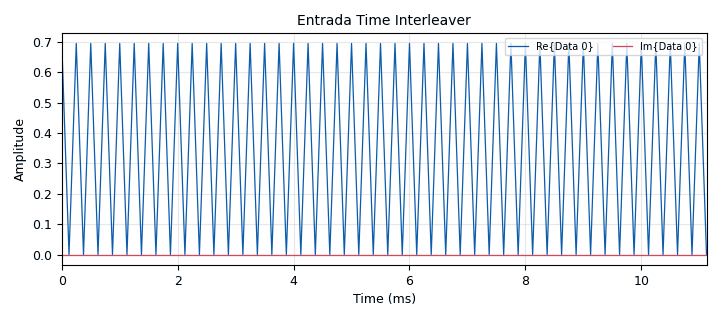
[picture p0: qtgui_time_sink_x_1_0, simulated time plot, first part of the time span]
<?xml version='1.0' encoding='utf-8'?>
<?grc format='1' created='3.7.12'?>
<flow_graph>
<block>
<key>options</key>
<param><key>id</key><value>top_block</value></param>
<param><key>generate_options</key><value>qt_gui</value></param>
</block>
<block>
<key>variable</key>
<param><key>id</key><value>Norm</value></param>
<param><key>value</key><value>1.0/1.44</value></param>
</block>
<block>
<key>variable</key>
<param><key>id</key><value>active_carriers</value></param>
<param><key>value</key><value>13*108*2**(mode-1)+1</value></param>
</block>
<block>
<key>variable</key>
<param><key>id</key><value>data_carriers</value></param>
<param><key>value</key><value>13*96*2**(mode-1)</value></param>
</block>
<block>
<key>variable</key>
<param><key>id</key><value>mode</value></param>
<param><key>value</key><value>1</value></param>
</block>
<block>
<key>variable</key>
<param><key>id</key><value>samp_rate</value></param>
<param><key>value</key><value>8000</value></param>
</block>
<block>
<key>analog_noise_source_x</key>
<param><key>id</key><value>analog_noise_source_x_0</value></param>
<param><key>amp</key><value>1</value></param>
<param><key>_enabled</key><value>0</value></param>
<param><key>noise_type</key><value>analog.GR_GAUSSIAN</value></param>
<param><key>type</key><value>complex</value></param>
<param><key>seed</key><value>0</value></param>
</block>
<block>
<key>blocks_stream_to_vector</key>
<param><key>id</key><value>blocks_stream_to_vector_0</value></param>
<param><key>type</key><value>complex</value></param>
<param><key>num_items</key><value>96</value></param>
</block>
<block>
<key>blocks_throttle</key>
<param><key>id</key><value>blocks_throttle_0</value></param>
<param><key>samples_per_second</key><value>samp_rate</value></param>
<param><key>type</key><value>complex</value></param>
</block>
<block>
<key>blocks_vector_source_x</key>
<param><key>id</key><value>blocks_vector_source_x_0</value></param>
<param><key>type</key><value>complex</value></param>
<param><key>repeat</key><value>True</value></param>
<param><key>vector</key><value>[Norm, 0]</value></param>
</block>
<block>
<key>blocks_vector_to_stream</key>
<param><key>id</key><value>blocks_vector_to_stream_0</value></param>
<param><key>type</key><value>complex</value></param>
<param><key>num_items</key><value>96</value></param>
</block>
<block>
<key>blocks_vector_to_stream</key>
<param><key>id</key><value>blocks_vector_to_stream_0_0</value></param>
<param><key>type</key><value>complex</value></param>
<param><key>num_items</key><value>2560</value></param>
</block>
<block>
<key>blocks_vector_to_stream</key>
<param><key>id</key><value>blocks_vector_to_stream_0_1</value></param>
<param><key>_enabled</key><value>0</value></param>
<param><key>type</key><value>complex</value></param>
<param><key>num_items</key><value>2560</value></param>
</block>
<block>
<key>blocks_vector_to_stream</key>
<param><key>id</key><value>blocks_vector_to_stream_0_2_0</value></param>
<param><key>type</key><value>complex</value></param>
<param><key>num_items</key><value>96</value></param>
</block>
<block>
<key>blocks_vector_to_stream</key>
<param><key>id</key><value>blocks_vector_to_stream_0_2_0_0</value></param>
<param><key>type</key><value>complex</value></param>
<param><key>num_items</key><value>96</value></param>
</block>
<block>
<key>isdbt_agregar_cp</key>
<param><key>id</key><value>isdbt_agregar_cp_0</value></param>
<param><key>cp_length</key><value>0.250</value></param>
<param><key>mode</key><value>1</value></param>
</block>
<block>
<key>isdbt_frec_interleaver</key>
<param><key>id</key><value>isdbt_frec_interleaver_0</value></param>
<param><key>IsFullSeg</key><value>False</value></param>
<param><key>mode</key><value>1</value></param>
</block>
<block>
<key>isdbt_frequency_deinterleaver_1seg</key>
<param><key>id</key><value>isdbt_frequency_deinterleaver_1seg_0</value></param>
<param><key>mode</key><value>1</value></param>
</block>
<block>
<key>isdbt_ofdm_frame_structure</key>
<param><key>id</key><value>isdbt_ofdm_frame_structure_0</value></param>
<param><key>ConvCodeA</key><value>0</value></param>
<param><key>ConvCodeB</key><value>6</value></param>
<param><key>ConvCodeC</key><value>6</value></param>
<param><key>IsFullSeg</key><value>False</value></param>
<param><key>IntLenA</key><value>0</value></param>
<param><key>IntLenB</key><value>0</value></param>
<param><key>IntLenC</key><value>0</value></param>
<param><key>ModeA</key><value>1</value></param>
<param><key>LayASeg</key><value>1</value></param>
<param><key>ModeB</key><value>4</value></param>
<param><key>LayBSeg</key><value>0</value></param>
<param><key>ModeC</key><value>4</value></param>
<param><key>LayCSeg</key><value>0</value></param>
<param><key>mode</key><value>1</value></param>
</block>
<block>
<key>isdbt_ofdm_synchronization_1seg</key>
<param><key>id</key><value>isdbt_ofdm_synchronization_1seg_0</value></param>
<param><key>cp_length</key><value>0.250</value></param>
<param><key>mode</key><value>1</value></param>
</block>
<block>
<key>isdbt_time_deinterleaver_1seg</key>
<param><key>id</key><value>isdbt_time_deinterleaver_1seg_0</value></param>
<param><key>length</key><value>4</value></param>
<param><key>mode</key><value>1</value></param>
</block>
<block>
<key>isdbt_time_interleaver</key>
<param><key>id</key><value>isdbt_time_interleaver_0</value></param>
<param><key>IsFullSeg</key><value>False</value></param>
<param><key>I</key><value>4</value></param>
<param><key>mode</key><value>1</value></param>
</block>
<block>
<key>isdbt_tmcc_decoder_1seg</key>
<param><key>id</key><value>isdbt_tmcc_decoder_1seg_0</value></param>
<param><key>print_params</key><value>False</value></param>
<param><key>transmission_mode</key><value>1</value></param>
</block>
<block>
<key>qtgui_const_sink_x</key>
<param><key>id</key><value>qtgui_const_sink_x_0</value></param>
<param><key>name</key><value>"CONSTELACION DETECTADA"</value></param>
<param><key>size</key><value>1024</value></param>
<param><key>type</key><value>complex</value></param>
</block>
<block>
<key>qtgui_time_sink_x</key>
<param><key>id</key><value>qtgui_time_sink_x_0</value></param>
<param><key>color1</key><value>"blue"</value></param>
<param><key>label1</key><value></value></param>
<param><key>color2</key><value>"red"</value></param>
<param><key>label2</key><value></value></param>
<param><key>name</key><value>"Salida del sistema"</value></param>
<param><key>size</key><value>1024</value></param>
<param><key>srate</key><value>samp_rate</value></param>
<param><key>type</key><value>complex</value></param>
<param><key>ymax</key><value>100</value></param>
<param><key>ymin</key><value>0</value></param>
</block>
<block>
<key>qtgui_time_sink_x</key>
<param><key>id</key><value>qtgui_time_sink_x_0_0</value></param>
<param><key>_enabled</key><value>0</value></param>
<param><key>color1</key><value>"blue"</value></param>
<param><key>label1</key><value></value></param>
<param><key>color2</key><value>"red"</value></param>
<param><key>label2</key><value></value></param>
<param><key>size</key><value>1</value></param>
<param><key>srate</key><value>samp_rate/4</value></param>
<param><key>type</key><value>complex</value></param>
</block>
<block>
<key>qtgui_time_sink_x</key>
<param><key>id</key><value>qtgui_time_sink_x_1</value></param>
<param><key>autoscale</key><value>True</value></param>
<param><key>color1</key><value>"blue"</value></param>
<param><key>label1</key><value></value></param>
<param><key>color2</key><value>"red"</value></param>
<param><key>label2</key><value></value></param>
<param><key>name</key><value>"Salida Time Interleaving"</value></param>
<param><key>size</key><value>1024</value></param>
<param><key>srate</key><value>samp_rate</value></param>
<param><key>type</key><value>complex</value></param>
</block>
<block>
<key>qtgui_time_sink_x</key>
<param><key>id</key><value>qtgui_time_sink_x_1_0</value></param>
<param><key>autoscale</key><value>True</value></param>
<param><key>color1</key><value>"blue"</value></param>
<param><key>label1</key><value></value></param>
<param><key>color2</key><value>"red"</value></param>
<param><key>label2</key><value></value></param>
<param><key>name</key><value>"Entrada Time Interleaver"</value></param>
<param><key>size</key><value>1024</value></param>
<param><key>srate</key><value>samp_rate</value></param>
<param><key>type</key><value>complex</value></param>
</block>
<connection><source_block_id>analog_noise_source_x_0</source_block_id><sink_block_id>blocks_throttle_0</sink_block_id><source_key>0</source_key><sink_key>0</sink_key></connection>
<connection><source_block_id>blocks_stream_to_vector_0</source_block_id><sink_block_id>blocks_vector_to_stream_0_2_0_0</sink_block_id><source_key>0</source_key><sink_key>0</sink_key></connection>
<connection><source_block_id>blocks_stream_to_vector_0</source_block_id><sink_block_id>isdbt_time_interleaver_0</sink_block_id><source_key>0</source_key><sink_key>0</sink_key></connection>
<connection><source_block_id>blocks_throttle_0</source_block_id><sink_block_id>blocks_stream_to_vector_0</sink_block_id><source_key>0</source_key><sink_key>0</sink_key></connection>
<connection><source_block_id>blocks_vector_source_x_0</source_block_id><sink_block_id>blocks_throttle_0</sink_block_id><source_key>0</source_key><sink_key>0</sink_key></connection>
<connection><source_block_id>blocks_vector_to_stream_0</source_block_id><sink_block_id>qtgui_const_sink_x_0</sink_block_id><source_key>0</source_key><sink_key>0</sink_key></connection>
<connection><source_block_id>blocks_vector_to_stream_0</source_block_id><sink_block_id>qtgui_time_sink_x_0</sink_block_id><source_key>0</source_key><sink_key>0</sink_key></connection>
<connection><source_block_id>blocks_vector_to_stream_0_0</source_block_id><sink_block_id>isdbt_ofdm_synchronization_1seg_0</sink_block_id><source_key>0</source_key><sink_key>0</sink_key></connection>
<connection><source_block_id>blocks_vector_to_stream_0_1</source_block_id><sink_block_id>qtgui_time_sink_x_0_0</sink_block_id><source_key>0</source_key><sink_key>0</sink_key></connection>
<connection><source_block_id>blocks_vector_to_stream_0_2_0</source_block_id><sink_block_id>qtgui_time_sink_x_1</sink_block_id><source_key>0</source_key><sink_key>0</sink_key></connection>
<connection><source_block_id>blocks_vector_to_stream_0_2_0_0</source_block_id><sink_block_id>qtgui_time_sink_x_1_0</sink_block_id><source_key>0</source_key><sink_key>0</sink_key></connection>
<connection><source_block_id>isdbt_agregar_cp_0</source_block_id><sink_block_id>blocks_vector_to_stream_0_0</sink_block_id><source_key>0</source_key><sink_key>0</sink_key></connection>
<connection><source_block_id>isdbt_agregar_cp_0</source_block_id><sink_block_id>blocks_vector_to_stream_0_1</sink_block_id><source_key>0</source_key><sink_key>0</sink_key></connection>
<connection><source_block_id>isdbt_frec_interleaver_0</source_block_id><sink_block_id>isdbt_ofdm_frame_structure_0</sink_block_id><source_key>0</source_key><sink_key>0</sink_key></connection>
<connection><source_block_id>isdbt_frequency_deinterleaver_1seg_0</source_block_id><sink_block_id>isdbt_time_deinterleaver_1seg_0</sink_block_id><source_key>0</source_key><sink_key>0</sink_key></connection>
<connection><source_block_id>isdbt_ofdm_frame_structure_0</source_block_id><sink_block_id>isdbt_agregar_cp_0</sink_block_id><source_key>0</source_key><sink_key>0</sink_key></connection>
<connection><source_block_id>isdbt_ofdm_synchronization_1seg_0</source_block_id><sink_block_id>isdbt_tmcc_decoder_1seg_0</sink_block_id><source_key>0</source_key><sink_key>0</sink_key></connection>
<connection><source_block_id>isdbt_time_deinterleaver_1seg_0</source_block_id><sink_block_id>blocks_vector_to_stream_0</sink_block_id><source_key>0</source_key><sink_key>0</sink_key></connection>
<connection><source_block_id>isdbt_time_interleaver_0</source_block_id><sink_block_id>blocks_vector_to_stream_0_2_0</sink_block_id><source_key>0</source_key><sink_key>0</sink_key></connection>
<connection><source_block_id>isdbt_time_interleaver_0</source_block_id><sink_block_id>isdbt_frec_interleaver_0</sink_block_id><source_key>0</source_key><sink_key>0</sink_key></connection>
<connection><source_block_id>isdbt_tmcc_decoder_1seg_0</source_block_id><sink_block_id>isdbt_frequency_deinterleaver_1seg_0</sink_block_id><source_key>0</source_key><sink_key>0</sink_key></connection>
</flow_graph>
